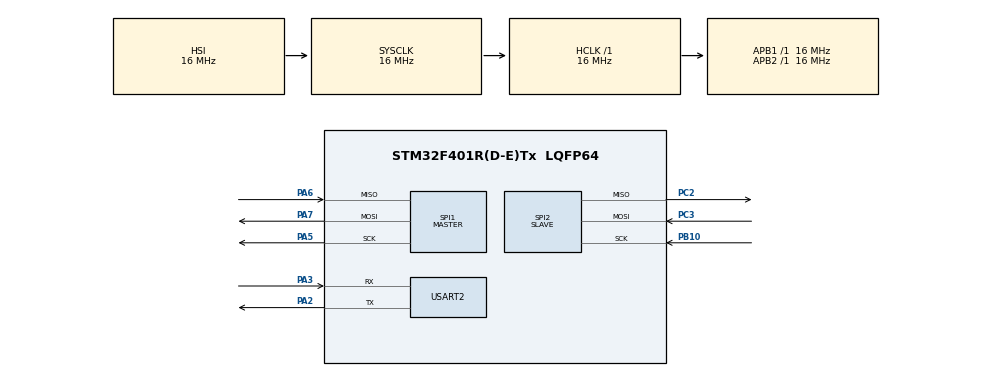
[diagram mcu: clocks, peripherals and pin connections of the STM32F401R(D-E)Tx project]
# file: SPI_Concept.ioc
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Mcu.Family=STM32F4
Mcu.Name=STM32F401R(D-E)Tx
Mcu.Package=LQFP64
NVIC.PriorityGroup=NVIC_PRIORITYGROUP_4
PA15.Signal=SPI1_NSS
PA2.Mode=Asynchronous
PA2.Signal=USART2_TX
PA3.Mode=Asynchronous
PA3.Signal=USART2_RX
PA5.Mode=Full_Duplex_Master
PA5.Signal=SPI1_SCK
PA6.Mode=Full_Duplex_Master
PA6.Signal=SPI1_MISO
PA7.Mode=Full_Duplex_Master
PA7.Signal=SPI1_MOSI
PB10.Mode=Full_Duplex_Slave
PB10.Signal=SPI2_SCK
PC2.Mode=Full_Duplex_Slave
PC2.Signal=SPI2_MISO
PC3.Mode=Full_Duplex_Slave
PC3.Signal=SPI2_MOSI
ProjectManager.HeapSize=0x200
ProjectManager.StackSize=0x400
ProjectManager.TargetToolchain=SW4STM32
RCC.AHBFreq_Value=16000000
RCC.APB1Freq_Value=16000000
RCC.APB2Freq_Value=16000000
RCC.CortexFreq_Value=16000000
RCC.HSE_VALUE=25000000
RCC.HSI_VALUE=16000000
RCC.LSE_VALUE=32768
RCC.SYSCLKFreq_VALUE=16000000
RCC.VCOOutputFreq_Value=192000000
SPI1.Direction=SPI_DIRECTION_2LINES
SPI1.Mode=SPI_MODE_MASTER
SPI1.VirtualType=VM_MASTER
SPI2.Direction=SPI_DIRECTION_2LINES
SPI2.Mode=SPI_MODE_SLAVE
SPI2.VirtualType=VM_SLAVE
USART2.VirtualMode=VM_ASYNC
board=SPI_Concept

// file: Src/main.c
/**
  ******************************************************************************
  * File Name          : main.c
  * Description        : Main program body
  ******************************************************************************
  ** This notice applies to any and all portions of this file
  * that are not between comment pairs USER CODE BEGIN and
  * USER CODE END. Other portions of this file, whether
  * inserted by the user or by software development tools
  * are owned by their respective copyright owners.
  *
  * COPYRIGHT(c) 2018 STMicroelectronics
  *
  * Redistribution and use in source and binary forms, with or without modification,
  * are permitted provided that the following conditions are met:
  *   1. Redistributions of source code must retain the above copyright notice,
  *      this list of conditions and the following disclaimer.
  *   2. Redistributions in binary form must reproduce the above copyright notice,
  *      this list of conditions and the following disclaimer in the documentation
  *      and/or other materials provided with the distribution.
  *   3. Neither the name of STMicroelectronics nor the names of its contributors
  *      may be used to endorse or promote products derived from this software
  *      without specific prior written permission.
  *
  * THIS SOFTWARE IS PROVIDED BY THE COPYRIGHT HOLDERS AND CONTRIBUTORS "AS IS"
  * AND ANY EXPRESS OR IMPLIED WARRANTIES, INCLUDING, BUT NOT LIMITED TO, THE
  * IMPLIED WARRANTIES OF MERCHANTABILITY AND FITNESS FOR A PARTICULAR PURPOSE ARE
  * DISCLAIMED. IN NO EVENT SHALL THE COPYRIGHT HOLDER OR CONTRIBUTORS BE LIABLE
  * FOR ANY DIRECT, INDIRECT, INCIDENTAL, SPECIAL, EXEMPLARY, OR CONSEQUENTIAL
  * DAMAGES (INCLUDING, BUT NOT LIMITED TO, PROCUREMENT OF SUBSTITUTE GOODS OR
  * SERVICES; LOSS OF USE, DATA, OR PROFITS; OR BUSINESS INTERRUPTION) HOWEVER
  * CAUSED AND ON ANY THEORY OF LIABILITY, WHETHER IN CONTRACT, STRICT LIABILITY,
  * OR TORT (INCLUDING NEGLIGENCE OR OTHERWISE) ARISING IN ANY WAY OUT OF THE USE
  * OF THIS SOFTWARE, EVEN IF ADVISED OF THE POSSIBILITY OF SUCH DAMAGE.
  *
  ******************************************************************************
  */
#include "main.h"
#include "stm32f4xx_hal.h"
#include <string.h>

SPI_HandleTypeDef hspi1;
SPI_HandleTypeDef hspi2;

UART_HandleTypeDef huart2;

/* USER CODE BEGIN PV */
/* Private variables ---------------------------------------------------------*/

//Definition for boolean variables used in conditional statements
#define TRUE 1
#define FALSE 0

//Standard definition for data buffer
#define BUFFER_SIZE 64

//Timeout used in Serial communication transmitting and receiving
#define timeOut 0x0FFF

//Structure declaring board settings, allows each board to keep track of other boards.
struct board {
	uint8_t data[BUFFER_SIZE];
	char letter;
}STM_A, STM_B, STM_C;

/* USER CODE END PV */

void SystemClock_Config(void);
static void MX_GPIO_Init(void);
static void MX_SPI1_Init(void);
static void MX_SPI2_Init(void);
static void MX_USART2_UART_Init(void);

/* USER CODE BEGIN PFP */
/* Private function prototypes -----------------------------------------------*/
void printStringToConsole(char message[]);

/* USER CODE END PFP */

int main(void)
{

  /* MCU Configuration----------------------------------------------------------*/

  /* Reset of all peripherals, Initializes the Flash interface and the Systick. */
  HAL_Init();

  /* Configure the system clock */
  SystemClock_Config();

  /* Initialize all configured peripherals */
  MX_GPIO_Init();
  MX_SPI1_Init();
  MX_SPI2_Init();
  MX_USART2_UART_Init();

  /* USER CODE BEGIN 2 */
  char DataToSend[] = "1";
  char DataToReceive[] = "0";
  /* USER CODE END 2 */

  /* Infinite loop */
  /* USER CODE BEGIN WHILE */
  while (1)
  {
	  HAL_Delay(500);
  /* USER CODE END WHILE */
  /* USER CODE BEGIN 3 */
	  HAL_SPI_Transmit(&hspi1,(uint8_t*)(DataToSend), 2,timeOut);
	//  HAL_SPI_Receive(&hspi2,(uint8_t*)(DataToReceive), 2,timeOut);
	  printStringToConsole(DataToReceive);
  }
  /* USER CODE END 3 */

}

/** System Clock Configuration
*/
void SystemClock_Config(void)
{

  RCC_OscInitTypeDef RCC_OscInitStruct;
  RCC_ClkInitTypeDef RCC_ClkInitStruct;

    /**Configure the main internal regulator output voltage
    */
  __HAL_RCC_PWR_CLK_ENABLE();

  __HAL_PWR_VOLTAGESCALING_CONFIG(PWR_REGULATOR_VOLTAGE_SCALE2);

    /**Initializes the CPU, AHB and APB busses clocks
    */
  RCC_OscInitStruct.OscillatorType = RCC_OSCILLATORTYPE_HSI;
  RCC_OscInitStruct.HSIState = RCC_HSI_ON;
  RCC_OscInitStruct.HSICalibrationValue = 16;
  RCC_OscInitStruct.PLL.PLLState = RCC_PLL_NONE;
  if (HAL_RCC_OscConfig(&RCC_OscInitStruct) != HAL_OK)
  {
    _Error_Handler(__FILE__, __LINE__);
  }

    /**Initializes the CPU, AHB and APB busses clocks
    */
  RCC_ClkInitStruct.ClockType = RCC_CLOCKTYPE_HCLK|RCC_CLOCKTYPE_SYSCLK
                              |RCC_CLOCKTYPE_PCLK1|RCC_CLOCKTYPE_PCLK2;
  RCC_ClkInitStruct.SYSCLKSource = RCC_SYSCLKSOURCE_HSI;
  RCC_ClkInitStruct.AHBCLKDivider = RCC_SYSCLK_DIV1;
  RCC_ClkInitStruct.APB1CLKDivider = RCC_HCLK_DIV1;
  RCC_ClkInitStruct.APB2CLKDivider = RCC_HCLK_DIV1;

  if (HAL_RCC_ClockConfig(&RCC_ClkInitStruct, FLASH_LATENCY_0) != HAL_OK)
  {
    _Error_Handler(__FILE__, __LINE__);
  }

    /**Configure the Systick interrupt time
    */
  HAL_SYSTICK_Config(HAL_RCC_GetHCLKFreq()/1000);

    /**Configure the Systick
    */
  HAL_SYSTICK_CLKSourceConfig(SYSTICK_CLKSOURCE_HCLK);

  /* SysTick_IRQn interrupt configuration */
  HAL_NVIC_SetPriority(SysTick_IRQn, 0, 0);
}

/* SPI1 init function */
static void MX_SPI1_Init(void)
{

  /* SPI1 parameter configuration*/
  hspi1.Instance = SPI1;
  hspi1.Init.Mode = SPI_MODE_MASTER;
  hspi1.Init.Direction = SPI_DIRECTION_2LINES;
  hspi1.Init.DataSize = SPI_DATASIZE_8BIT;
  hspi1.Init.CLKPolarity = SPI_POLARITY_LOW;
  hspi1.Init.CLKPhase = SPI_PHASE_1EDGE;
  hspi1.Init.NSS = SPI_NSS_SOFT;
  hspi1.Init.BaudRatePrescaler = SPI_BAUDRATEPRESCALER_2;
  hspi1.Init.FirstBit = SPI_FIRSTBIT_MSB;
  hspi1.Init.TIMode = SPI_TIMODE_DISABLE;
  hspi1.Init.CRCCalculation = SPI_CRCCALCULATION_DISABLE;
  hspi1.Init.CRCPolynomial = 10;
  if (HAL_SPI_Init(&hspi1) != HAL_OK)
  {
    _Error_Handler(__FILE__, __LINE__);
  }

}

/* SPI2 init function */
static void MX_SPI2_Init(void)
{

  /* SPI2 parameter configuration*/
  hspi2.Instance = SPI2;
  hspi2.Init.Mode = SPI_MODE_SLAVE;
  hspi2.Init.Direction = SPI_DIRECTION_2LINES;
  hspi2.Init.DataSize = SPI_DATASIZE_8BIT;
  hspi2.Init.CLKPolarity = SPI_POLARITY_LOW;
  hspi2.Init.CLKPhase = SPI_PHASE_1EDGE;
  hspi2.Init.NSS = SPI_NSS_SOFT;
  hspi2.Init.FirstBit = SPI_FIRSTBIT_MSB;
  hspi2.Init.TIMode = SPI_TIMODE_DISABLE;
  hspi2.Init.CRCCalculation = SPI_CRCCALCULATION_DISABLE;
  hspi2.Init.CRCPolynomial = 10;
  if (HAL_SPI_Init(&hspi2) != HAL_OK)
  {
    _Error_Handler(__FILE__, __LINE__);
  }

}

/* USART2 init function */
static void MX_USART2_UART_Init(void)
{

  huart2.Instance = USART2;
  huart2.Init.BaudRate = 115200;
  huart2.Init.WordLength = UART_WORDLENGTH_8B;
  huart2.Init.StopBits = UART_STOPBITS_1;
  huart2.Init.Parity = UART_PARITY_NONE;
  huart2.Init.Mode = UART_MODE_TX_RX;
  huart2.Init.HwFlowCtl = UART_HWCONTROL_NONE;
  huart2.Init.OverSampling = UART_OVERSAMPLING_16;
  if (HAL_UART_Init(&huart2) != HAL_OK)
  {
    _Error_Handler(__FILE__, __LINE__);
  }

}

/** Pinout Configuration
*/
static void MX_GPIO_Init(void)
{

  /* GPIO Ports Clock Enable */
  __HAL_RCC_GPIOC_CLK_ENABLE();
  __HAL_RCC_GPIOA_CLK_ENABLE();
  __HAL_RCC_GPIOB_CLK_ENABLE();

}

/* USER CODE BEGIN 4 */

// Description: Transmit a string over huart2. If solder bridges SB13 and SB14 are not removed,
//				this will transmit a message to the STLink chip and can be printed on a serial monitor
//				directly (such as the Arduino serial monitor). Otherwise, need to connect the huart2 pins to
// 				an Ardunio an receive the message from that end.
// Input: message to be transmitted
void printStringToConsole(char message[]) {
	HAL_UART_Transmit(&huart2, (uint8_t*)message, strlen(message), timeOut);
}

/* USER CODE END 4 */

void _Error_Handler(char * file, int line)
{
  while(1)
  {
  }
}

/************************ (C) COPYRIGHT STMicroelectronics *****END OF FILE****/
